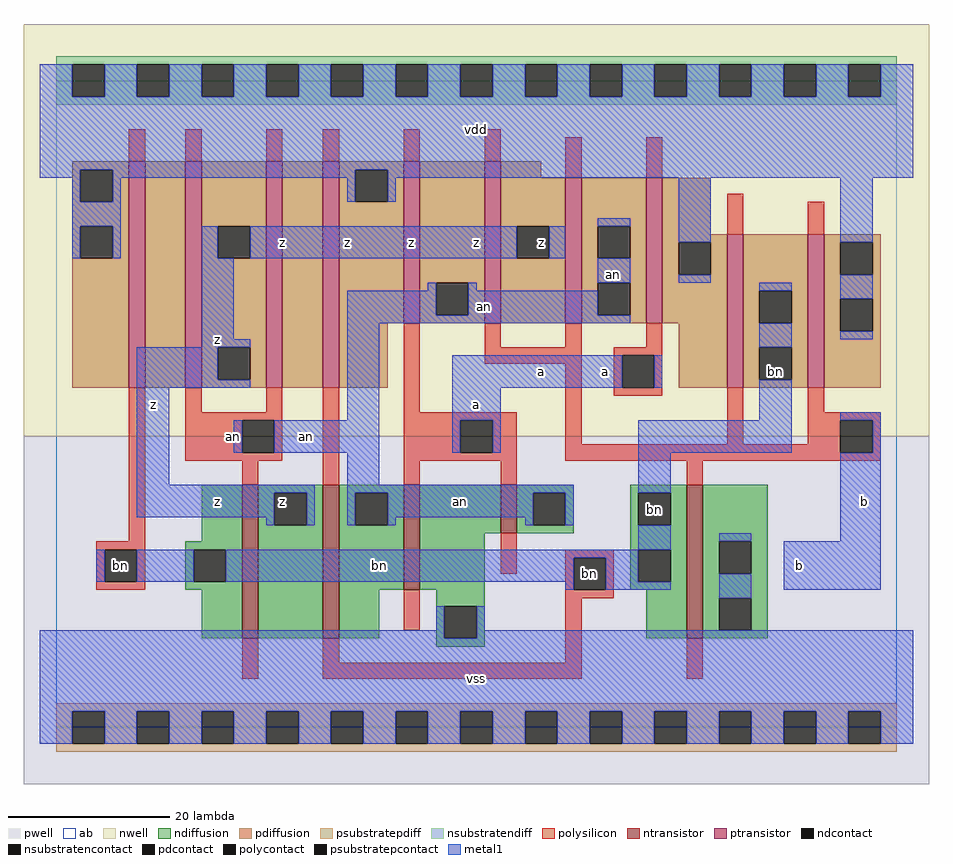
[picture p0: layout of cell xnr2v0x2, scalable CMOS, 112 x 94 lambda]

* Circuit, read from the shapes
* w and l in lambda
.subckt xnr2v0x2 a an b bn vdd vss z
M1 z an bn vss nfet w=19 l=2
M2 an bn z vss nfet w=19 l=2
M3 vss a an vss nfet w=13 l=2
M4 an a vss vss nfet w=6 l=2
M5 vss b bn vss nfet w=19 l=2
M6 n1 bn vdd vdd pfet w=28 l=2
M7 z an n1 vdd pfet w=28 l=2
M8 n2 an z vdd pfet w=28 l=2
M9 vdd bn n2 vdd pfet w=28 l=2
M10 an a vdd vdd pfet w=20 l=2
M11 z b an vdd pfet w=20 l=2
M12 an b z vdd pfet w=18 l=2
M13 vdd a an vdd pfet w=18 l=2
M14 bn b vdd vdd pfet w=19 l=2 m=2
.ends

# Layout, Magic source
magic
tech scmos
<< ab >>
rect 0 0 104 80
<< pwell >>
rect -4 -7 108 36
<< nwell >>
rect -4 36 108 87
<< polysilicon >>
rect 9 70 11 74
rect 16 70 18 74
rect 26 70 28 74
rect 33 70 35 74
rect 43 70 45 74
rect 53 70 55 74
rect 63 68 65 73
rect 73 68 75 73
rect 83 61 85 66
rect 93 61 95 65
rect 9 23 11 42
rect 16 39 18 42
rect 26 39 28 42
rect 16 38 28 39
rect 16 34 23 38
rect 27 34 28 38
rect 16 33 28 34
rect 23 30 25 33
rect 33 30 35 42
rect 43 39 45 50
rect 53 47 55 50
rect 63 47 65 50
rect 73 47 75 50
rect 53 45 65 47
rect 43 38 57 39
rect 43 34 50 38
rect 54 34 57 38
rect 43 33 57 34
rect 63 35 65 45
rect 69 46 75 47
rect 69 42 70 46
rect 74 42 75 46
rect 69 41 75 42
rect 83 35 85 42
rect 93 39 95 42
rect 93 38 102 39
rect 93 35 97 38
rect 63 34 97 35
rect 101 34 102 38
rect 63 33 102 34
rect 43 30 45 33
rect 55 30 57 33
rect 78 30 80 33
rect 5 22 11 23
rect 5 18 6 22
rect 10 18 11 22
rect 5 17 11 18
rect 55 19 57 24
rect 63 21 69 22
rect 43 12 45 17
rect 23 6 25 11
rect 33 8 35 11
rect 63 17 64 21
rect 68 17 69 21
rect 63 16 69 17
rect 63 8 65 16
rect 33 6 65 8
rect 78 6 80 11
<< ndiffusion >>
rect 18 23 23 30
rect 16 22 23 23
rect 16 18 17 22
rect 21 18 23 22
rect 16 17 23 18
rect 18 11 23 17
rect 25 29 33 30
rect 25 25 27 29
rect 31 25 33 29
rect 25 11 33 25
rect 35 29 43 30
rect 35 25 37 29
rect 41 25 43 29
rect 35 17 43 25
rect 45 24 55 30
rect 57 29 64 30
rect 57 25 59 29
rect 63 25 64 29
rect 57 24 64 25
rect 71 29 78 30
rect 71 25 72 29
rect 76 25 78 29
rect 45 17 53 24
rect 71 22 78 25
rect 35 11 40 17
rect 47 15 53 17
rect 47 11 48 15
rect 52 11 53 15
rect 47 10 53 11
rect 71 18 72 22
rect 76 18 78 22
rect 71 17 78 18
rect 73 11 78 17
rect 80 23 88 30
rect 80 19 82 23
rect 86 19 88 23
rect 80 16 88 19
rect 80 12 82 16
rect 86 12 88 16
rect 80 11 88 12
<< pdiffusion >>
rect 2 69 9 70
rect 2 65 3 69
rect 7 65 9 69
rect 2 62 9 65
rect 2 58 3 62
rect 7 58 9 62
rect 2 42 9 58
rect 11 42 16 70
rect 18 62 26 70
rect 18 58 20 62
rect 24 58 26 62
rect 18 47 26 58
rect 18 43 20 47
rect 24 43 26 47
rect 18 42 26 43
rect 28 42 33 70
rect 35 69 43 70
rect 35 65 37 69
rect 41 65 43 69
rect 35 50 43 65
rect 45 55 53 70
rect 45 51 47 55
rect 51 51 53 55
rect 45 50 53 51
rect 55 68 60 70
rect 55 62 63 68
rect 55 58 57 62
rect 61 58 63 62
rect 55 50 63 58
rect 65 62 73 68
rect 65 58 67 62
rect 71 58 73 62
rect 65 55 73 58
rect 65 51 67 55
rect 71 51 73 55
rect 65 50 73 51
rect 75 61 81 68
rect 75 60 83 61
rect 75 56 77 60
rect 81 56 83 60
rect 75 50 83 56
rect 35 42 41 50
rect 77 42 83 50
rect 85 54 93 61
rect 85 50 87 54
rect 91 50 93 54
rect 85 47 93 50
rect 85 43 87 47
rect 91 43 93 47
rect 85 42 93 43
rect 95 60 102 61
rect 95 56 97 60
rect 101 56 102 60
rect 95 53 102 56
rect 95 49 97 53
rect 101 49 102 53
rect 95 42 102 49
<< metal1 >>
rect -2 78 2 82
rect 6 78 10 82
rect 14 78 18 82
rect 22 78 26 82
rect 30 78 34 82
rect 38 78 42 82
rect 46 78 50 82
rect 54 78 58 82
rect 62 78 66 82
rect 70 78 74 82
rect 78 78 82 82
rect 86 78 90 82
rect 94 78 98 82
rect 102 78 106 82
rect -2 69 106 78
rect -2 68 3 69
rect 2 65 3 68
rect 7 68 37 69
rect 7 65 8 68
rect 36 65 37 68
rect 41 68 106 69
rect 41 65 42 68
rect 2 62 8 65
rect 67 62 71 63
rect 2 58 3 62
rect 7 58 8 62
rect 18 58 20 62
rect 24 58 57 62
rect 61 58 63 62
rect 18 48 22 58
rect 67 55 71 58
rect 77 60 81 68
rect 77 55 81 56
rect 97 60 101 68
rect 46 54 47 55
rect 36 51 47 54
rect 51 54 52 55
rect 51 51 67 54
rect 36 50 71 51
rect 87 54 91 55
rect 18 47 24 48
rect 10 43 20 47
rect 10 42 24 43
rect 10 30 14 42
rect 36 38 40 50
rect 87 47 91 50
rect 97 53 101 56
rect 97 48 101 49
rect 22 34 23 38
rect 27 34 40 38
rect 49 42 70 46
rect 74 42 75 46
rect 49 38 55 42
rect 87 38 91 43
rect 49 34 50 38
rect 54 34 55 38
rect 72 34 91 38
rect 97 38 102 39
rect 101 34 102 38
rect 36 30 40 34
rect 10 29 32 30
rect 10 26 27 29
rect 26 25 27 26
rect 31 25 32 29
rect 36 29 64 30
rect 36 25 37 29
rect 41 26 59 29
rect 41 25 42 26
rect 58 25 59 26
rect 63 25 64 29
rect 72 29 76 34
rect 72 22 76 25
rect 5 18 6 22
rect 10 18 17 22
rect 21 21 72 22
rect 21 18 64 21
rect 63 17 64 18
rect 68 18 72 21
rect 68 17 76 18
rect 82 23 86 24
rect 97 23 102 34
rect 82 16 86 19
rect 90 17 102 23
rect 47 12 48 15
rect -2 11 48 12
rect 52 12 53 15
rect 52 11 106 12
rect -2 2 106 11
rect -2 -2 2 2
rect 6 -2 10 2
rect 14 -2 18 2
rect 22 -2 26 2
rect 30 -2 34 2
rect 38 -2 42 2
rect 46 -2 50 2
rect 54 -2 58 2
rect 62 -2 66 2
rect 70 -2 74 2
rect 78 -2 82 2
rect 86 -2 90 2
rect 94 -2 98 2
rect 102 -2 106 2
<< ntransistor >>
rect 23 11 25 30
rect 33 11 35 30
rect 43 17 45 30
rect 55 24 57 30
rect 78 11 80 30
<< ptransistor >>
rect 9 42 11 70
rect 16 42 18 70
rect 26 42 28 70
rect 33 42 35 70
rect 43 50 45 70
rect 53 50 55 70
rect 63 50 65 68
rect 73 50 75 68
rect 83 42 85 61
rect 93 42 95 61
<< polycontact >>
rect 23 34 27 38
rect 50 34 54 38
rect 70 42 74 46
rect 97 34 101 38
rect 6 18 10 22
rect 64 17 68 21
<< ndcontact >>
rect 17 18 21 22
rect 27 25 31 29
rect 37 25 41 29
rect 59 25 63 29
rect 72 25 76 29
rect 48 11 52 15
rect 72 18 76 22
rect 82 19 86 23
rect 82 12 86 16
<< pdcontact >>
rect 3 65 7 69
rect 3 58 7 62
rect 20 58 24 62
rect 20 43 24 47
rect 37 65 41 69
rect 47 51 51 55
rect 57 58 61 62
rect 67 58 71 62
rect 67 51 71 55
rect 77 56 81 60
rect 87 50 91 54
rect 87 43 91 47
rect 97 56 101 60
rect 97 49 101 53
<< psubstratepcontact >>
rect 2 -2 6 2
rect 10 -2 14 2
rect 18 -2 22 2
rect 26 -2 30 2
rect 34 -2 38 2
rect 42 -2 46 2
rect 50 -2 54 2
rect 58 -2 62 2
rect 66 -2 70 2
rect 74 -2 78 2
rect 82 -2 86 2
rect 90 -2 94 2
rect 98 -2 102 2
<< nsubstratencontact >>
rect 2 78 6 82
rect 10 78 14 82
rect 18 78 22 82
rect 26 78 30 82
rect 34 78 38 82
rect 42 78 46 82
rect 50 78 54 82
rect 58 78 62 82
rect 66 78 70 82
rect 74 78 78 82
rect 82 78 86 82
rect 90 78 94 82
rect 98 78 102 82
<< psubstratepdiff >>
rect 0 2 104 3
rect 0 -2 2 2
rect 6 -2 10 2
rect 14 -2 18 2
rect 22 -2 26 2
rect 30 -2 34 2
rect 38 -2 42 2
rect 46 -2 50 2
rect 54 -2 58 2
rect 62 -2 66 2
rect 70 -2 74 2
rect 78 -2 82 2
rect 86 -2 90 2
rect 94 -2 98 2
rect 102 -2 104 2
rect 0 -3 104 -2
<< nsubstratendiff >>
rect 0 82 104 83
rect 0 78 2 82
rect 6 78 10 82
rect 14 78 18 82
rect 22 78 26 82
rect 30 78 34 82
rect 38 78 42 82
rect 46 78 50 82
rect 54 78 58 82
rect 62 78 66 82
rect 70 78 74 82
rect 78 78 82 82
rect 86 78 90 82
rect 94 78 98 82
rect 102 78 104 82
rect 0 77 104 78
<< labels >>
rlabel polycontact 8 20 8 20 6 bn
rlabel polysilicon 22 36 22 36 6 an
rlabel polycontact 66 19 66 19 6 bn
rlabel metal1 12 40 12 40 6 z
rlabel metal1 20 28 20 28 6 z
rlabel ndcontact 28 28 28 28 6 z
rlabel metal1 31 36 31 36 6 an
rlabel metal1 20 48 20 48 6 z
rlabel metal1 28 60 28 60 6 z
rlabel metal1 36 60 36 60 6 z
rlabel metal1 52 6 52 6 6 vss
rlabel metal1 52 40 52 40 6 a
rlabel metal1 60 44 60 44 6 a
rlabel metal1 44 60 44 60 6 z
rlabel metal1 52 60 52 60 6 z
rlabel pdcontact 60 60 60 60 6 z
rlabel metal1 52 74 52 74 6 vdd
rlabel metal1 40 20 40 20 6 bn
rlabel metal1 50 28 50 28 6 an
rlabel ndcontact 74 27 74 27 6 bn
rlabel metal1 68 44 68 44 6 a
rlabel metal1 69 56 69 56 6 an
rlabel metal1 53 52 53 52 6 an
rlabel metal1 92 20 92 20 6 b
rlabel metal1 100 28 100 28 6 b
rlabel pdcontact 89 44 89 44 6 bn
<< end >>
